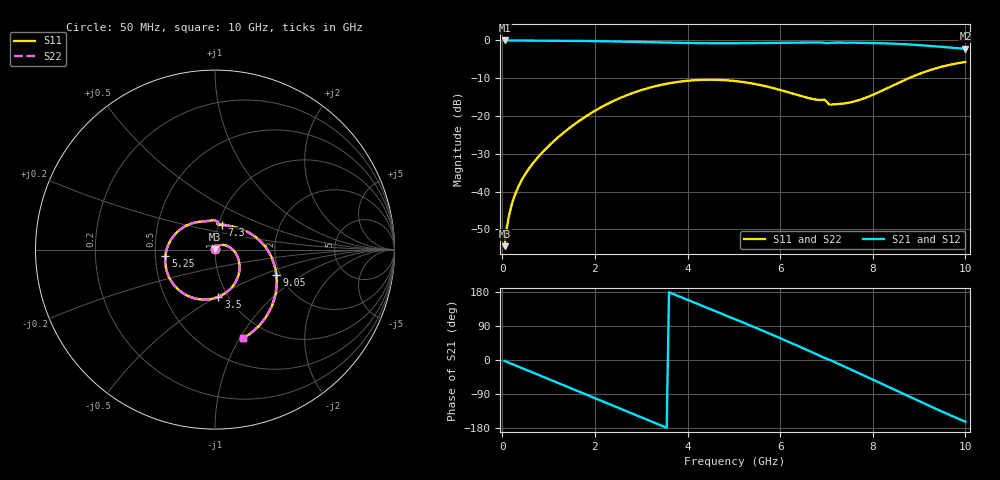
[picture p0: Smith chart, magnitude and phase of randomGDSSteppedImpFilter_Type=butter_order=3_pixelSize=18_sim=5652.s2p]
! freq	dB(S11)	phase(S11)	dB(S12)	phase(S12)
!  dB(S21)	phase(S21)	dB(S22)	phase(S22)
!S-par simulation data
#  GHz  S  DB  R 50
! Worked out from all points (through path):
!   200 points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, 50 MHz to 10 GHz, reference 50 ohm
!   highest |S21| = 0.00 dB at 50 MHz (marker M1); lowest = -2.2 dB at 10 GHz (marker M2)
!   group delay of S21, straight-line fit = 145 ps
!   lowest |S11| = -54.4 dB at 50 MHz (marker M3), VSWR 1.00, Z = 50.1 + j0.182 ohm
!   |S11| at or under -10 dB: start of sweep to 8.776 GHz
!   |S22| runs from -54.4 to -5.7 dB; largest |S21 - S12| = 0
!   S11 on the Smith chart (normalised r, x): 50 MHz: 1.00, +0.00; 3.5 GHz: 0.90, -0.51; 5.25 GHz: 0.57, -0.04; 7.3 GHz: 1.04, +0.30; 9.05 GHz: 1.91, -0.61; 10 GHz: 0.77, -1.04
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0.05  -54.43 73.2  -0.00 -2.6  -0.00 -2.6  -54.43 73.2
0.1  -49.33 75.5  -0.01 -5.1  -0.01 -5.1  -49.33 75.5
0.2  -43.60 75.0  -0.02 -10.1  -0.02 -10.1  -43.60 75.0
0.5  -35.28 63.6  -0.04 -25.1  -0.04 -25.1  -35.28 63.6
1.15  -26.22 32.6  -0.08 -57.8  -0.08 -57.8  -26.22 32.6
1.75  -20.53 2.5  -0.14 -88.0  -0.14 -88.0  -20.53 2.5
2.5  -15.46 -35.6  -0.28 -126.0  -0.28 -126.0  -15.46 -35.6
2.95  -13.34 -58.3  -0.39 -148.7  -0.39 -148.7  -13.34 -58.3
3.4  -11.84 -80.8  -0.52 -171.2  -0.52 -171.2  -11.84 -80.9
3.5  -11.58 -85.8  -0.55 -176.2  -0.55 -176.2  -11.58 -85.8
4.2  -10.49 -120.3  -0.70 149.0  -0.70 149.0  -10.49 -120.4
5.05  -10.77 -162.4  -0.74 106.6  -0.74 106.6  -10.77 -162.6
5.25  -11.09 -172.5  -0.72 96.5  -0.72 96.5  -11.09 -172.7
5.95  -12.94 151.1  -0.63 60.3  -0.63 60.3  -12.94 150.8
6.7  -15.49 109.8  -0.55 20.1  -0.55 20.1  -15.49 109.2
7.3  -16.78 74.7  -0.57 -12.4  -0.57 -12.4  -16.78 73.8
7.8  -15.38 46.7  -0.63 -40.4  -0.63 -40.4  -15.37 45.8
8.35  -12.41 16.3  -0.81 -71.6  -0.81 -71.6  -12.40 15.7
8.7  -10.41 -2.9  -1.00 -91.5  -1.00 -91.5  -10.41 -3.5
9.05  -8.65 -22.1  -1.28 -111.4  -1.28 -111.4  -8.65 -22.6
9.55  -6.76 -48.9  -1.77 -139.0  -1.77 -139.0  -6.76 -49.3
10  -5.71 -72.3  -2.22 -163.0  -2.22 -163.0  -5.71 -72.6
